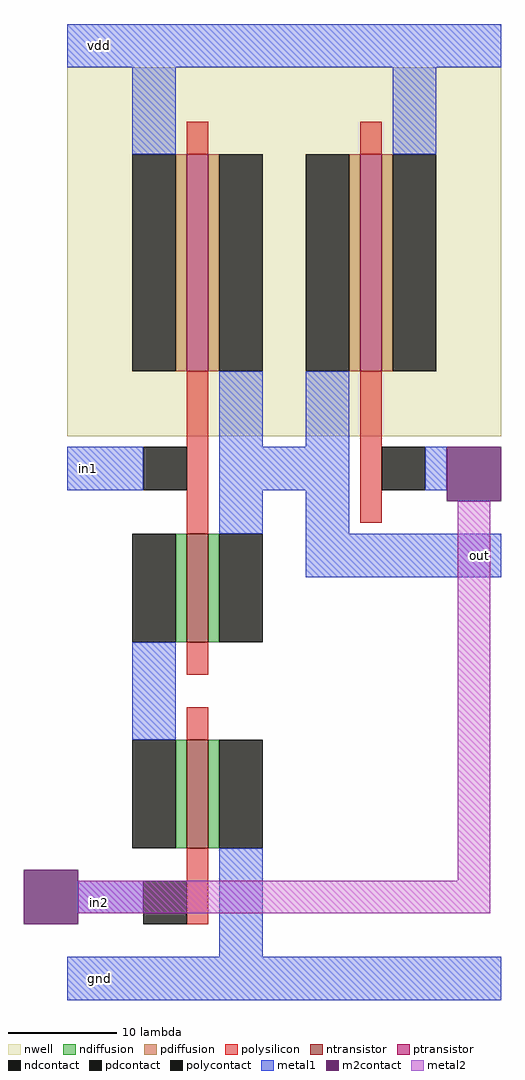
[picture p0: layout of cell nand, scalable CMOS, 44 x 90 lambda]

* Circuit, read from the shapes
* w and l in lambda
.subckt nand gnd in1 in2 out vdd
M1 gnd in2 n1 VSUBS nfet w=10 l=2
M2 out in1 n1 VSUBS nfet w=10 l=2
M3 out in1 vdd n2 pfet w=20 l=2
M4 vdd in2 out n2 pfet w=20 l=2
.ends

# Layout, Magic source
magic
tech scmos
<< nwell >>
rect 0 27 40 61
<< ntransistor >>
rect 11 8 13 18
rect 11 -11 13 -1
<< ptransistor >>
rect 11 33 13 53
rect 27 33 29 53
<< ndiffusion >>
rect 10 8 11 18
rect 13 8 14 18
rect 10 -11 11 -1
rect 13 -11 14 -1
<< pdiffusion >>
rect 10 33 11 53
rect 13 33 14 53
rect 26 33 27 53
rect 29 33 30 53
<< ndcontact >>
rect 6 8 10 18
rect 14 8 18 18
rect 6 -11 10 -1
rect 14 -11 18 -1
<< pdcontact >>
rect 6 33 10 53
rect 14 33 18 53
rect 22 33 26 53
rect 30 33 34 53
<< polysilicon >>
rect 11 53 13 56
rect 27 53 29 56
rect 11 18 13 33
rect 27 19 29 33
rect 11 5 13 8
rect 11 -1 13 2
rect 11 -18 13 -11
<< polycontact >>
rect 7 22 11 26
rect 29 22 33 26
rect 7 -18 11 -14
<< metal1 >>
rect 0 61 40 65
rect 6 53 10 61
rect 30 53 34 61
rect 14 26 18 33
rect 22 26 26 33
rect 0 22 7 26
rect 14 22 26 26
rect 33 22 35 26
rect 14 18 18 22
rect 22 18 26 22
rect 22 14 40 18
rect 6 -1 10 8
rect 1 -17 7 -14
rect 14 -21 18 -11
rect 0 -25 40 -21
<< m2contact >>
rect 35 21 40 26
rect -4 -18 1 -13
<< metal2 >>
rect 36 -14 39 21
rect 1 -17 39 -14
<< labels >>
rlabel metal1 0 -25 6 -21 2 gnd
rlabel metal1 0 61 6 65 4 vdd
rlabel metal1 36 14 40 18 7 out
rlabel metal1 0 22 4 26 3 in1
rlabel metal2 2 -17 4 -15 1 in2
<< end >>
